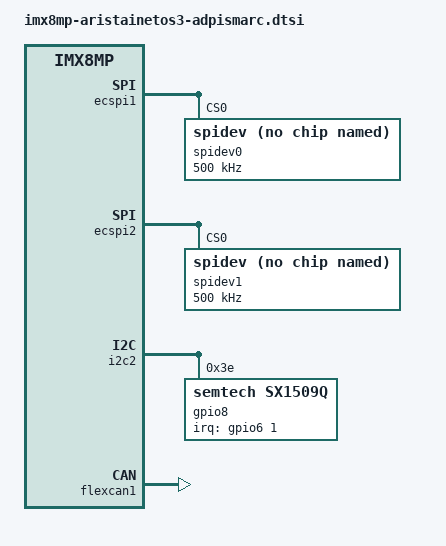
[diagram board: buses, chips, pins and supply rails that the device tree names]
// SPDX-License-Identifier: (GPL-2.0+ OR MIT)
/*
 * Copyright (C) 2024 Heiko Schocher <hs@denx.de>
 */

#include <dt-bindings/gpio/gpio.h>
#include <dt-bindings/interrupt-controller/irq.h>

&ecspi1 {
	spidev0: spi@0 {
		reg = <0>;
		compatible = "rohm,dh2228fv";
		spi-max-frequency = <500000>;
	};
};

&ecspi2 {
	spidev1: spi@0 {
		reg = <0>;
		compatible = "rohm,dh2228fv";
		spi-max-frequency = <500000>;
	};
};

&i2c2 {
	/* SX1509(2) U1001@IPi SMARC Plus */
	gpio8: i2c2_gpioext0@3e {
		/* GPIO Expander 2 Mapping :
		 * - 0: E_GPIO1_0	<=>	IPi SMARC Plus CN101_PIN29: E_GPIO1_0
		 * - 1: E_GPIO1_1	<=>	IPi SMARC Plus CN101_PIN31: E_GPIO1_1
		 * - 2: E_GPIO1_2	<=>	IPi SMARC Plus CN101_PIN32: E_GPIO1_2
		 * - 3: E_GPIO1_3	<=>	IPi SMARC Plus CN101_PIN33: E_GPIO1_3
		 * - 4: E_GPIO1_4	<=>	IPi SMARC Plus CN101_PIN35: E_GPIO1_4
		 * - 5: E_GPIO1_5	<=>	IPi SMARC Plus CN101_PIN36: E_GPIO1_5
		 * - 6: E_GPIO1_6	<=>	IPi SMARC Plus CN101_PIN37: E_GPIO1_6
		 * - 7: E_GPIO1_7	<=>	IPi SMARC Plus CN101_PIN38: E_GPIO1_7
		 * - 8: E_GPIO2_8	<=>	IPi SMARC Plus CN101_PIN40: E_GPIO2_8
		 * - 9: TP1002		<=>	IPi SMARC Plus TP1002 (won't use)
		 * - 10: TP1003		<=>	IPi SMARC Plus TP1003 (won't use)
		 * - 11: TP1004		<=>	IPi SMARC Plus TP1004 (won't use)
		 * - 12: TP1005		<=>	IPi SMARC Plus TP1005 (won't use)
		 * - 13: TP1006		<=>	IPi SMARC Plus TP1006 (won't use)
		 * - 14: TP1007		<=>	IPi SMARC Plus TP1007 (won't use)
		 * - 15: TP1008		<=>	IPi SMARC Plus TP1008 (won't use)
		 * - 16: OSCIO		<=>	IPi SMARC Plus TP1001 (won't use)
		 */
		#gpio-cells = <2>;
		#interrupt-cells = <2>;
		compatible = "semtech,sx1509q";
		reg = <0x3e>;

		semtech,probe-reset;
		gpio-controller;
		interrupt-controller;

		interrupt-parent = <&gpio6>;
		interrupts = <1 IRQ_TYPE_EDGE_FALLING>;
	};

};

&flexcan1 {
	status = "okay";
};
